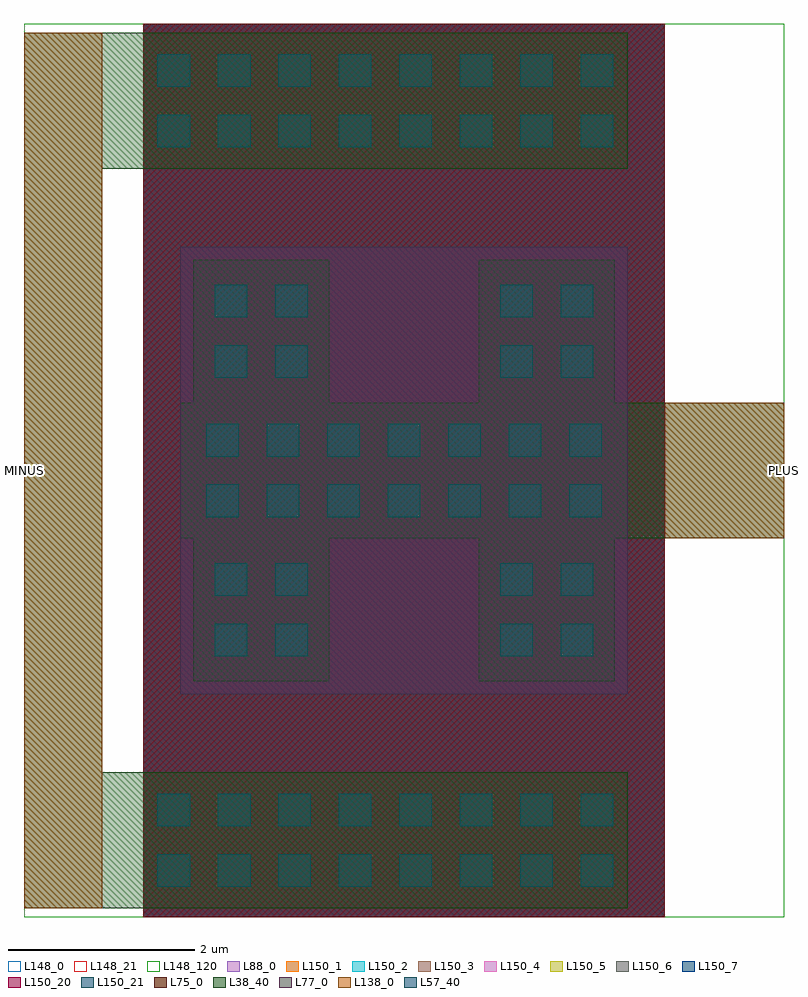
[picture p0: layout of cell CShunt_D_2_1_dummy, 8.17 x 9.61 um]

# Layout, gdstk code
import gdstk
lib = gdstk.Library(unit=1e-6, precision=1e-09)
def R(c, l, rs):  # rectangles x0, y0, x1, y1
    for r in rs: c.add(gdstk.rectangle(r[:2], r[2:], *l))
def A(c, l, x, y, w, h, nx, ny, dx, dy):  # array of equal rectangles
    R(c, l, [(x+i*dx, y+j*dy, x+i*dx+w, y+j*dy+h) for i in range(nx) for j in range(ny)])
L38_40 = (38, 40)
L57_40 = (57, 40)
L75_0 = (75, 0)
L77_0 = (77, 0)
L88_0 = (88, 0)
L138_0 = (138, 0)
L148_0 = (148, 0)
L148_21 = (148, 21)
L148_120 = (148, 120)
L150_1 = (150, 1)
L150_2 = (150, 2)
L150_3 = (150, 3)
L150_4 = (150, 4)
L150_5 = (150, 5)
L150_6 = (150, 6)
L150_7 = (150, 7)
L150_20 = (150, 20)
L150_21 = (150, 21)

cshunt_d_2_1_dummy = lib.new_cell('CShunt_D_2_1_dummy')
R(cshunt_d_2_1_dummy, L38_40, [(-1.68,-2.3,4.81,-0.84), (-1.68,-0.84,-0.84,5.65), (0.14,0.14,1.6,4.67), (3.21,0.14,4.67,4.67), (0,1.675,6.49,3.135), (-1.68,5.65,4.81,7.11)])
A(cshunt_d_2_1_dummy, L57_40, -0.245, -2.07, 0.35, 0.35, 8, 2, 0.65, 0.65)
A(cshunt_d_2_1_dummy, L57_40, 0.28, 1.905, 0.35, 0.35, 7, 2, 0.65, 0.65)
A(cshunt_d_2_1_dummy, L57_40, -0.245, 5.88, 0.35, 0.35, 8, 2, 0.65, 0.65)
R(cshunt_d_2_1_dummy, L57_40, [(0.37,0.407,0.72,0.757), (1.02,0.407,1.37,0.757), (3.44,0.407,3.79,0.757), (4.09,0.407,4.44,0.757), (0.37,1.057,0.72,1.407), (1.02,1.057,1.37,1.407), (3.44,1.057,3.79,1.407), (4.09,1.057,4.44,1.407), (0.37,3.402,0.72,3.752), (1.02,3.402,1.37,3.752), (3.44,3.402,3.79,3.752), (4.09,3.402,4.44,3.752), (0.37,4.052,0.72,4.402), (1.02,4.052,1.37,4.402), (3.44,4.052,3.79,4.402), (4.09,4.052,4.44,4.402)])
R(cshunt_d_2_1_dummy, L75_0, [(-0.4,-2.4,5.21,7.21)])
R(cshunt_d_2_1_dummy, L77_0, [(0,0,4.81,4.81)])
R(cshunt_d_2_1_dummy, L88_0, [(-0.4,-2.4,5.21,7.21)])
R(cshunt_d_2_1_dummy, L138_0, [(-1.68,-2.3,-0.84,7.11), (5.21,1.675,6.49,3.135)])
R(cshunt_d_2_1_dummy, L148_0, [(-1.68,-2.4,6.49,7.21)])
R(cshunt_d_2_1_dummy, L148_21, [(-1.68,-2.4,6.49,7.21)])
R(cshunt_d_2_1_dummy, L148_120, [(-1.68,-2.4,6.49,7.21)])
R(cshunt_d_2_1_dummy, L150_1, [(-0.4,-2.4,5.21,7.21)])
R(cshunt_d_2_1_dummy, L150_2, [(-0.4,-2.4,5.21,7.21)])
R(cshunt_d_2_1_dummy, L150_3, [(-0.4,-2.4,5.21,7.21)])
R(cshunt_d_2_1_dummy, L150_4, [(-0.4,-2.4,5.21,7.21)])
R(cshunt_d_2_1_dummy, L150_5, [(-0.4,-2.4,5.21,7.21)])
R(cshunt_d_2_1_dummy, L150_6, [(-0.4,-2.4,5.21,7.21)])
R(cshunt_d_2_1_dummy, L150_7, [(-0.4,-2.4,5.21,7.21)])
R(cshunt_d_2_1_dummy, L150_20, [(-0.4,-2.4,5.21,7.21)])
R(cshunt_d_2_1_dummy, L150_21, [(-0.4,-2.4,5.21,7.21)])
cshunt_d_2_1_dummy.add(gdstk.Label('MINUS', (-1.68,2.405), layer=138, texttype=0))
cshunt_d_2_1_dummy.add(gdstk.Label('PLUS', (6.49,2.405), layer=138, texttype=0))

lib.write_gds('CShunt_D_2_1_dummy.gds')
